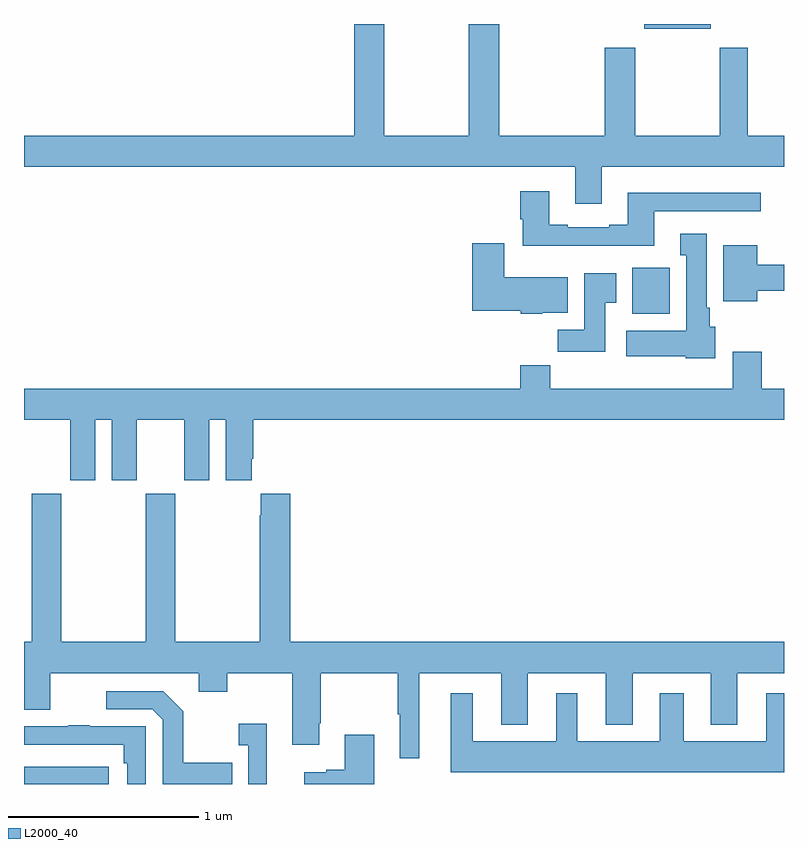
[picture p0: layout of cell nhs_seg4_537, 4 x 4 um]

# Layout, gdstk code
import gdstk
lib = gdstk.Library(unit=1e-6, precision=1e-09)
def R(c, l, rs):  # rectangles x0, y0, x1, y1
    for r in rs: c.add(gdstk.rectangle(r[:2], r[2:], *l))
def P(c, l, *ps):  # polygons
    for p in ps: c.add(gdstk.Polygon(p, *l))
L2000_40 = (2000, 40)

nhs_seg4_537 = lib.new_cell('nhs_seg4_537')
R(nhs_seg4_537, L2000_40, [(137,798.9,137.446,798.99), (140.201,801.374,140.398,801.616), (140.264,802.874,140.614,802.9)])
P(nhs_seg4_537, L2000_40, [(140.041,802.148),(141,802.148),(141,802.312),(140.809,802.312),(140.809,802.774),(140.662,802.774),(140.662,802.312),(140.217,802.312),(140.217,802.774),(140.057,802.774),(140.057,802.312),(139.502,802.312),(139.502,802.9),(139.342,802.9),(139.342,802.312),(138.897,802.312),(138.897,802.9),(138.737,802.9),(138.737,802.312),(137,802.312),(137,802.148),(139.901,802.148),(139.901,801.954),(140.041,801.954)],
  [(140.317,801.915),(140.878,801.915),(140.878,802.012),(140.177,802.012),(140.177,801.844),(140.081,801.844),(140.081,801.831),(139.861,801.831),(139.861,801.844),(139.765,801.844),(139.765,802.021),(139.613,802.021),(139.613,801.873),(139.625,801.873),(139.625,801.734),(140.317,801.734)],
  [(140.638,801.306),(140.608,801.306),(140.608,801.406),(140.593,801.406),(140.593,801.796),(140.453,801.796),(140.453,801.683),(140.486,801.683),(140.486,801.286),(140.169,801.286),(140.169,801.152),(140.484,801.152),(140.484,801.14),(140.638,801.14)],
  [(139.728,801.38),(139.861,801.38),(139.861,801.568),(139.528,801.568),(139.528,801.745),(139.358,801.745),(139.358,801.392),(139.614,801.392),(139.614,801.374),(139.728,801.374)],
  [(140.86,801.496),(141,801.496),(141,801.632),(140.86,801.632),(140.86,801.736),(140.681,801.736),(140.681,801.44),(140.86,801.44)],
  [(140.059,801.433),(140.116,801.433),(140.116,801.589),(139.949,801.589),(139.949,801.292),(139.81,801.292),(139.81,801.174),(140.059,801.174)],
  [(137.374,800.816),(137.462,800.816),(137.462,800.499),(137.593,800.499),(137.593,800.816),(137.843,800.816),(137.843,800.499),(137.974,800.499),(137.974,800.816),(138.062,800.816),(138.062,800.499),(138.199,800.499),(138.199,800.611),(138.206,800.611),(138.206,800.816),(141,800.816),(141,800.98),(140.882,800.98),(140.882,801.175),(140.729,801.175),(140.729,800.98),(139.769,800.98),(139.769,801.104),(139.613,801.104),(139.613,800.98),(137,800.98),(137,800.816),(137.243,800.816),(137.243,800.499),(137.374,800.499)],
  [(139.081,799.484),(139.511,799.484),(139.511,799.211),(139.651,799.211),(139.651,799.484),(140.063,799.484),(140.063,799.211),(140.203,799.211),(140.203,799.484),(140.615,799.484),(140.615,799.211),(140.755,799.211),(140.755,799.484),(141,799.484),(141,799.648),(138.401,799.648),(138.401,800.428),(138.245,800.428),(138.245,800.315),(138.241,800.315),(138.241,799.648),(137.796,799.648),(137.796,800.428),(137.641,800.428),(137.641,799.648),(137.196,799.648),(137.196,800.428),(137.041,800.428),(137.041,799.648),(137,799.648),(137,799.29),(137.137,799.29),(137.137,799.484),(137.921,799.484),(137.921,799.385),(138.069,799.385),(138.069,799.484),(138.413,799.484),(138.413,799.107),(138.553,799.107),(138.553,799.219),(138.561,799.219),(138.561,799.484),(138.967,799.484),(138.967,799.268),(138.977,799.268),(138.977,799.035),(139.081,799.035)],
  [(138.095,799.011),(137.839,799.011),(137.839,799.283),(137.733,799.389),(137.433,799.389),(137.433,799.293),(137.676,799.293),(137.73,799.239),(137.73,798.9),(138.095,798.9)],
  [(141,799.378),(140.906,799.378),(140.906,799.126),(140.473,799.126),(140.473,799.378),(140.345,799.378),(140.345,799.126),(139.912,799.126),(139.912,799.378),(139.802,799.378),(139.802,799.126),(139.363,799.126),(139.363,799.378),(139.247,799.378),(139.247,798.962),(141,798.962)],
  [(138.278,799.216),(138.129,799.216),(138.129,799.103),(138.18,799.103),(138.18,798.9),(138.278,798.9)],
  [(137.64,799.203),(137.345,799.203),(137.345,799.208),(137.233,799.208),(137.233,799.203),(137,799.203),(137,799.107),(137.524,799.107),(137.524,799.01),(137.544,799.01),(137.544,798.9),(137.64,798.9)],
  [(138.844,799.159),(138.689,799.159),(138.689,798.974),(138.59,798.974),(138.59,798.961),(138.474,798.961),(138.474,798.9),(138.844,798.9)])

lib.write_gds('nhs_seg4_537.gds')
